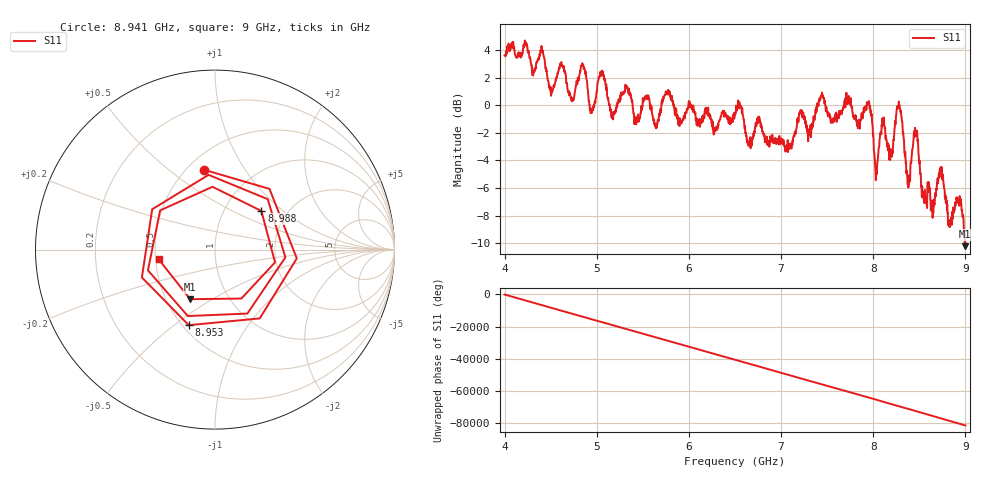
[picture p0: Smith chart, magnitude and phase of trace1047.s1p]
! Created with skrf 1.8.0 (http://scikit-rf.org).
# Hz S RI R 50.0
!freq ReS11 ImS11
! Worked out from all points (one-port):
!   1601 points, 4 GHz to 9 GHz, reference 50 ohm
!   lowest |S11| = -10.2 dB at 8.997 GHz (marker M1), VSWR 1.89, Z = 33 - j20.1 ohm
!   |S11| at or under -10 dB: 8.993373 GHz to 8.999293 GHz (5.92 MHz wide, 0.0658 % of centre)
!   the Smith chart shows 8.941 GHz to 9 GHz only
!   S11 on the Smith chart (normalised r, x): 8.941 GHz: 0.60, +0.67; 8.953 GHz: 0.54, -0.56; 8.988 GHz: 1.49, +0.72; 9 GHz: 0.52, -0.06
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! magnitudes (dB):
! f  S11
! 4 GHz  3.6
! 4.403 GHz  4.1
! 4.506 GHz  0.8
! 4.625 GHz  2.9
! 4.734 GHz  0.5
! 4.853 GHz  2.9
! 4.944 GHz  -0.4
! 5.05 GHz  2.5
! 5.169 GHz  -1.0
! 5.25 GHz  0.5
! 5.875 GHz  -0.7
! 6.5 GHz  -0.6
! 7.125 GHz  -2.5
! 7.75 GHz  0.3
! 7.956 GHz  0.2
! 8.031 GHz  -5.1
! 8.197 GHz  -3.7
! 8.278 GHz  0.3
! 8.375 GHz  -5.8
! 8.459 GHz  -1.9
! 8.559 GHz  -6.6
! 8.731 GHz  -4.7
! 8.831 GHz  -8.7
! 8.941 GHz  -7.0
! 8.953 GHz  -7.0
! 8.988 GHz  -9.5
! 8.997 GHz  -10.2
! 9 GHz  -9.9
